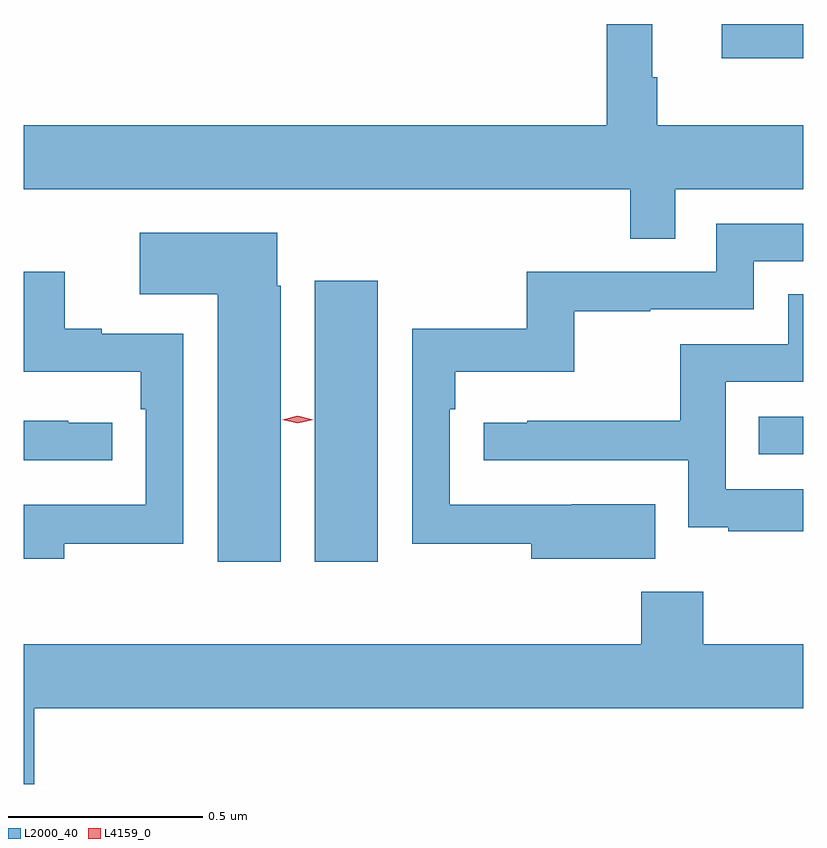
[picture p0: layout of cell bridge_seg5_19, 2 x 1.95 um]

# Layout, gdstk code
import gdstk
lib = gdstk.Library(unit=1e-6, precision=1e-09)
def R(c, l, rs):  # rectangles x0, y0, x1, y1
    for r in rs: c.add(gdstk.rectangle(r[:2], r[2:], *l))
def P(c, l, *ps):  # polygons
    for p in ps: c.add(gdstk.Polygon(p, *l))
L2000_40 = (2000, 40)
L4159_0 = (4159, 0)

bridge_seg5_19 = lib.new_cell('bridge_seg5_19')
R(bridge_seg5_19, L2000_40, [(1129.946,907.752,1130.107,908.473), (1131.085,908.028,1131.199,908.124), (1130.99,909.044,1131.199,909.132)])
P(bridge_seg5_19, L2000_40, [(1130.871,908.708),(1131.199,908.708),(1131.199,908.872),(1130.824,908.872),(1130.824,908.996),(1130.812,908.996),(1130.812,909.132),(1130.695,909.132),(1130.695,908.872),(1129.199,908.872),(1129.199,908.708),(1130.755,908.708),(1130.755,908.581),(1130.871,908.581)],
  [(1130.819,907.9),(1130.605,907.9),(1130.605,907.899),(1130.292,907.899),(1130.292,908.144),(1130.306,908.144),(1130.306,908.24),(1130.611,908.24),(1130.611,908.395),(1130.807,908.395),(1130.807,908.4),(1131.072,908.4),(1131.072,908.523),(1131.199,908.523),(1131.199,908.619),(1130.976,908.619),(1130.976,908.496),(1130.49,908.496),(1130.49,908.35),(1130.196,908.35),(1130.196,907.798),(1130.501,907.798),(1130.501,907.76),(1130.819,907.76)],
  [(1129.858,908.46),(1129.849,908.46),(1129.849,908.596),(1129.497,908.596),(1129.497,908.438),(1129.697,908.438),(1129.697,907.752),(1129.858,907.752)],
  [(1129.303,907.798),(1129.608,907.798),(1129.608,908.337),(1129.399,908.337),(1129.399,908.35),(1129.304,908.35),(1129.304,908.496),(1129.199,908.496),(1129.199,908.24),(1129.499,908.24),(1129.499,908.144),(1129.512,908.144),(1129.512,907.899),(1129.199,907.899),(1129.199,907.76),(1129.303,907.76)],
  [(1131.199,907.938),(1131,907.938),(1131,908.214),(1131.199,908.214),(1131.199,908.438),(1131.161,908.438),(1131.161,908.31),(1130.884,908.31),(1130.884,908.114),(1130.491,908.114),(1130.491,908.109),(1130.379,908.109),(1130.379,908.013),(1130.904,908.013),(1130.904,907.841),(1131.007,907.841),(1131.007,907.83),(1131.199,907.83)],
  [(1129.426,908.109),(1129.313,908.109),(1129.313,908.114),(1129.199,908.114),(1129.199,908.013),(1129.426,908.013)],
  [(1129.226,907.376),(1131.199,907.376),(1131.199,907.54),(1130.943,907.54),(1130.943,907.675),(1130.783,907.675),(1130.783,907.54),(1129.199,907.54),(1129.199,907.182),(1129.226,907.182)])
P(bridge_seg5_19, L4159_0, [(1129.902,908.107),(1129.862,908.117),(1129.861,908.117),(1129.862,908.117),(1129.902,908.127),(1129.942,908.117),(1129.942,908.117),(1129.942,908.117)])

lib.write_gds('bridge_seg5_19.gds')
